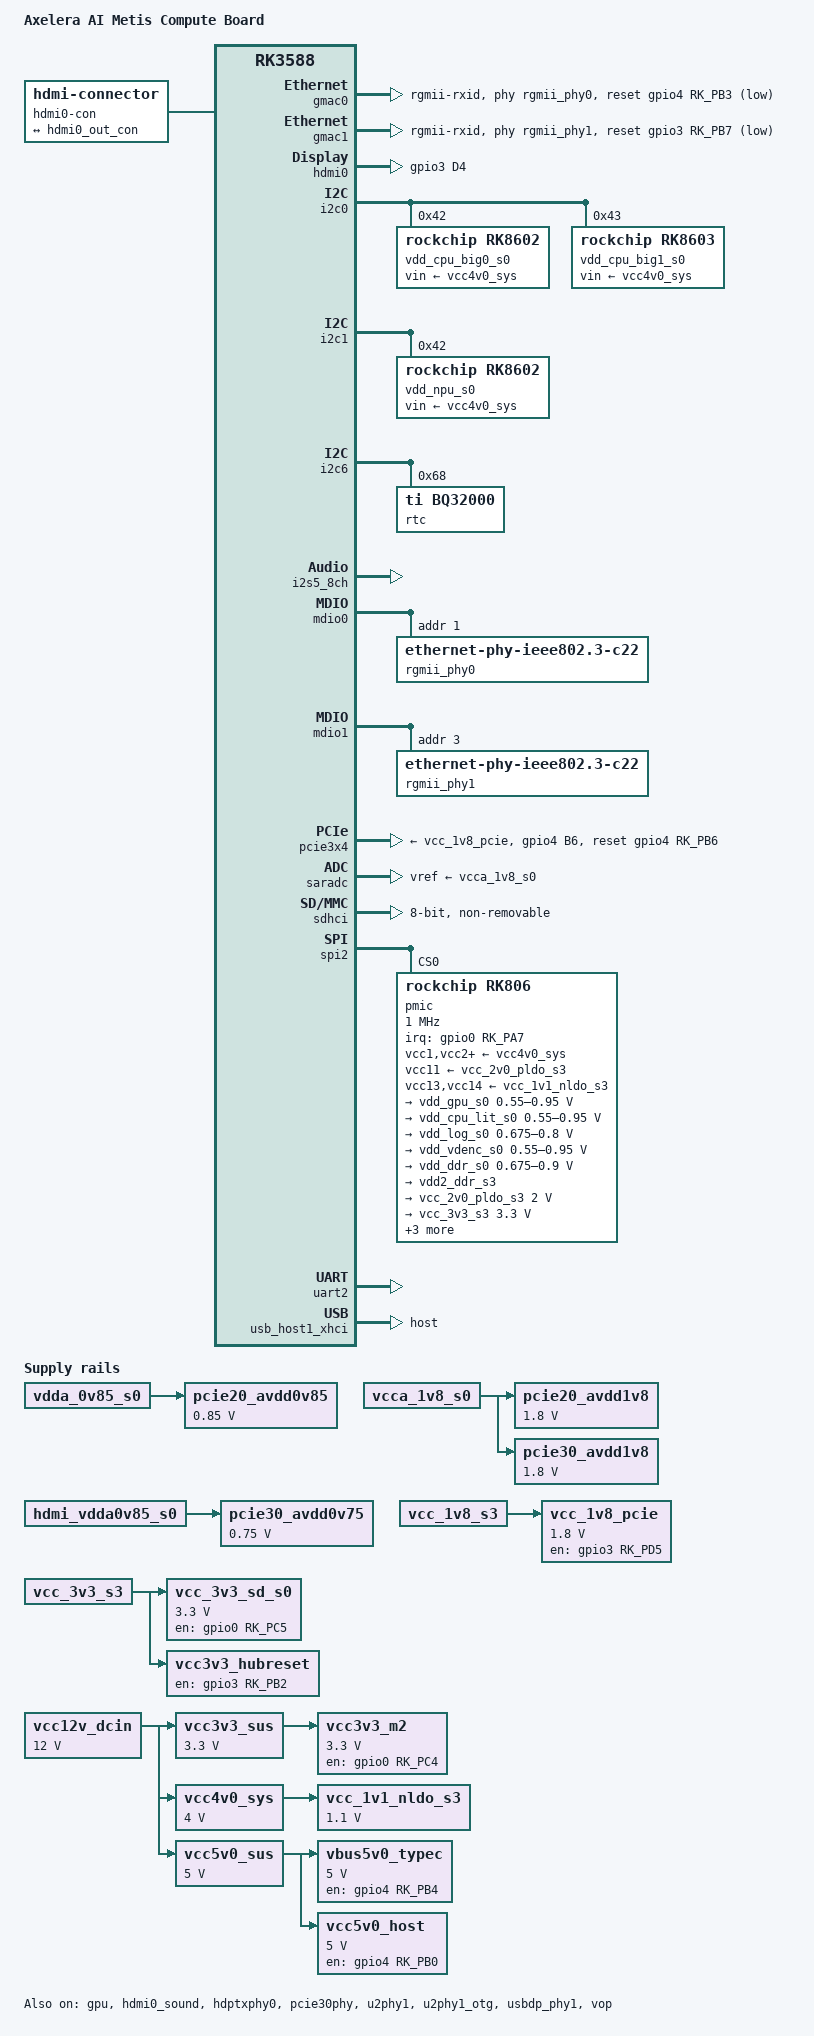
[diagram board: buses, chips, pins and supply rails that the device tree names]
// SPDX-License-Identifier: (GPL-2.0+ OR MIT)

/dts-v1/;

#include <dt-bindings/gpio/gpio.h>
#include <dt-bindings/input/input.h>
#include <dt-bindings/pinctrl/rockchip.h>
#include <dt-bindings/soc/rockchip,vop2.h>
#include "rk3588.dtsi"

/ {
	model = "Axelera AI Metis Compute Board";
	compatible = "axelera,metis-sbc", "rockchip,rk3588";

	aliases {
		ethernet0 = &gmac0;
		ethernet1 = &gmac1;
		mmc0 = &sdhci;
	};

	chosen {
		stdout-path = "serial2:1500000n8";
	};

	hdmi0-con {
		compatible = "hdmi-connector";
		type = "a";

		port {
			hdmi0_con_in: endpoint {
				remote-endpoint = <&hdmi0_out_con>;
			};
		};
	};

	pcie20_avdd0v85: pcie20-avdd0v85 {
		compatible = "regulator-fixed";
		regulator-always-on;
		regulator-boot-on;
		regulator-min-microvolt = <850000>;
		regulator-max-microvolt = <850000>;
		regulator-name = "pcie20_avdd0v85";
		vin-supply = <&vdda_0v85_s0>;
	};

	pcie20_avdd1v8: pcie20-avdd1v8 {
		compatible = "regulator-fixed";
		regulator-always-on;
		regulator-boot-on;
		regulator-min-microvolt = <1800000>;
		regulator-max-microvolt = <1800000>;
		regulator-name = "pcie20_avdd1v8";
		vin-supply = <&vcca_1v8_s0>;
	};

	pcie30_avdd0v75: pcie30-avdd0v75 {
		compatible = "regulator-fixed";
		regulator-always-on;
		regulator-boot-on;
		regulator-min-microvolt = <750000>;
		regulator-max-microvolt = <750000>;
		regulator-name = "pcie30_avdd0v75";
		vin-supply = <&hdmi_vdda0v85_s0>;
	};

	pcie30_avdd1v8: pcie30-avdd1v8 {
		compatible = "regulator-fixed";
		regulator-always-on;
		regulator-boot-on;
		regulator-min-microvolt = <1800000>;
		regulator-max-microvolt = <1800000>;
		regulator-name = "pcie30_avdd1v8";
		vin-supply = <&vcca_1v8_s0>;
	};

	vbus5v0_typec: vbus5v0-typec {
		compatible = "regulator-fixed";
		enable-active-high;
		gpio = <&gpio4 RK_PB4 GPIO_ACTIVE_HIGH>; /* TYPEC5V_PWREN */
		pinctrl-0 = <&typec5v_pwren>;
		pinctrl-names = "default";
		regulator-name = "usbc_ss_vbus";
		regulator-min-microvolt = <5000000>;
		regulator-max-microvolt = <5000000>;
		vin-supply = <&vcc5v0_sus>;
	};

	vcc_1v1_nldo_s3: vcc-1v1-nldo-s3 {
		compatible = "regulator-fixed";
		regulator-always-on;
		regulator-boot-on;
		regulator-min-microvolt = <1100000>;
		regulator-max-microvolt = <1100000>;
		regulator-name = "vcc_1v1_nldo_s3";
		vin-supply = <&vcc4v0_sys>;
	};

	vcc_1v8_pcie: vcc-1v8-pcie {
		compatible = "regulator-fixed";
		enable-active-high;
		gpio = <&gpio3 RK_PD5 GPIO_ACTIVE_HIGH>; /* PCIE30_PWREN_H */
		pinctrl-0 = <&pcie30_pwren_h>;
		pinctrl-names = "default";
		regulator-always-on;
		regulator-min-microvolt = <1800000>;
		regulator-max-microvolt = <1800000>;
		regulator-name = "vcc_1v8_pcie";
		startup-delay-us = <50000>;
		vin-supply = <&vcc_1v8_s3>;
	};

	vcc_3v3_sd_s0: vcc-3v3-sd-s0 {
		compatible = "regulator-fixed";
		enable-active-high;
		gpio = <&gpio0 RK_PC5 GPIO_ACTIVE_HIGH>; /* SDMMC_PWREN */
		pinctrl-0 = <&sdmmc_pwren>;
		pinctrl-names = "default";
		regulator-min-microvolt = <3300000>;
		regulator-max-microvolt = <3300000>;
		regulator-name = "vsd_3v3";
		startup-delay-us = <1000000>;
		vin-supply = <&vcc_3v3_s3>;
	};

	vcc12v_dcin: vcc12v-dcin {
		compatible = "regulator-fixed";
		regulator-always-on;
		regulator-boot-on;
		regulator-min-microvolt = <12000000>;
		regulator-max-microvolt = <12000000>;
		regulator-name = "12vsus";
	};

	vcc3v3_hubreset: vcc3v3-hubreset {
		compatible = "regulator-fixed";
		enable-active-high;
		gpio = <&gpio3 RK_PB2 GPIO_ACTIVE_HIGH>; /* USB_HUB_RST_N */
		pinctrl-0 = <&usb_hub_rst_n>;
		pinctrl-names = "default";
		regulator-always-on;
		regulator-boot-on;
		regulator-name = "vcc3v3_hubreset";
		vin-supply = <&vcc_3v3_s3>;
	};

	vcc3v3_m2: vcc3v3-m2 {
		compatible = "regulator-fixed";
		enable-active-high;
		gpio = <&gpio0 RK_PC4 GPIO_ACTIVE_HIGH>; /* PCIE_PWREN_H */
		pinctrl-0 = <&pcie_pwren_h>;
		pinctrl-names = "default";
		regulator-always-on;
		regulator-boot-on;
		regulator-min-microvolt = <3300000>;
		regulator-max-microvolt = <3300000>;
		regulator-name = "3v_m2";
		vin-supply = <&vcc3v3_sus>;
	};

	vcc3v3_sus: vcc3v3-sus {
		compatible = "regulator-fixed";
		regulator-always-on;
		regulator-boot-on;
		regulator-min-microvolt = <3300000>;
		regulator-max-microvolt = <3300000>;
		regulator-name = "3vsus";
		vin-supply = <&vcc12v_dcin>;
	};

	vcc4v0_sys: vcc4v0-sys {
		compatible = "regulator-fixed";
		regulator-always-on;
		regulator-boot-on;
		regulator-min-microvolt = <4000000>;
		regulator-max-microvolt = <4000000>;
		regulator-name = "vcc4v0_sys";
		vin-supply = <&vcc12v_dcin>;
	};

	vcc5v0_host: vcc5v0-host {
		compatible = "regulator-fixed";
		enable-active-high;
		gpio = <&gpio4 RK_PB0 GPIO_ACTIVE_HIGH>; /* USB_HOST_PWREN */
		pinctrl-0 = <&usb_host_pwren>;
		pinctrl-names = "default";
		regulator-always-on;
		regulator-boot-on;
		regulator-min-microvolt = <5000000>;
		regulator-max-microvolt = <5000000>;
		regulator-name = "vcc5v0_host";
		vin-supply = <&vcc5v0_sus>;
	};

	vcc5v0_sus: vcc5v0-sus {
		compatible = "regulator-fixed";
		regulator-always-on;
		regulator-boot-on;
		regulator-min-microvolt = <5000000>;
		regulator-max-microvolt = <5000000>;
		regulator-name = "5vsus";
		vin-supply = <&vcc12v_dcin>;
	};
};

&cpu_b0 {
	cpu-supply = <&vdd_cpu_big0_s0>;
	mem-supply = <&vdd_cpu_big0_s0>;
};

&cpu_b1 {
	cpu-supply = <&vdd_cpu_big0_s0>;
	mem-supply = <&vdd_cpu_big0_s0>;
};

&cpu_b2 {
	cpu-supply = <&vdd_cpu_big1_s0>;
	mem-supply = <&vdd_cpu_big1_s0>;
};

&cpu_b3 {
	cpu-supply = <&vdd_cpu_big1_s0>;
	mem-supply = <&vdd_cpu_big1_s0>;
};

&cpu_l0 {
	cpu-supply = <&vdd_cpu_lit_s0>;
	mem-supply = <&vdd_cpu_lit_mem_s0>;
};

&cpu_l1 {
	cpu-supply = <&vdd_cpu_lit_s0>;
	mem-supply = <&vdd_cpu_lit_mem_s0>;
};

&cpu_l2 {
	cpu-supply = <&vdd_cpu_lit_s0>;
	mem-supply = <&vdd_cpu_lit_mem_s0>;
};

&cpu_l3 {
	cpu-supply = <&vdd_cpu_lit_s0>;
	mem-supply = <&vdd_cpu_lit_mem_s0>;
};

&gmac0 {
	clock_in_out = "output";
	phy-handle = <&rgmii_phy0>;
	/* Use rgmii-rxid mode to disable rx delay inside Soc */
	phy-mode = "rgmii-rxid";
	pinctrl-0 = <&gmac0_miim
		     &gmac0_tx_bus2
		     &gmac0_rx_bus2
		     &gmac0_rgmii_clk
		     &gmac0_rgmii_bus>;
	pinctrl-names = "default";
	tx_delay = <0x44>;
	snps,reset-gpio = <&gpio4 RK_PB3 GPIO_ACTIVE_LOW>; /* GMAC0_RST_N */
	snps,reset-active-low;
	/* Reset time is 20ms, 100ms for rtl8211f */
	snps,reset-delays-us = <0 20000 100000>;
	status = "okay";
};

&gmac1 {
	clock_in_out = "output";
	phy-handle = <&rgmii_phy1>;
	/* Use rgmii-rxid mode to disable rx delay inside Soc */
	phy-mode = "rgmii-rxid";
	pinctrl-0 = <&gmac1_miim
		     &gmac1_tx_bus2
		     &gmac1_rx_bus2
		     &gmac1_rgmii_clk
		     &gmac1_rgmii_bus>;
	pinctrl-names = "default";
	tx_delay = <0x43>;
	snps,reset-gpio = <&gpio3 RK_PB7 GPIO_ACTIVE_LOW>; /* GMAC1_RST_N */
	snps,reset-active-low;
	/* Reset time is 20ms, 100ms for rtl8211f */
	snps,reset-delays-us = <0 20000 100000>;
	status = "okay";
};

&gpu {
	mali-supply = <&vdd_gpu_s0>;
	status = "okay";
};

&hdmi0 {
	pinctrl-0 = <&hdmim0_tx0_cec &hdmim0_tx0_hpd_sbc &hdmim0_tx0_scl &hdmim0_tx0_sda>;
	pinctrl-names = "default";
	status = "okay";
};

&hdmi0_in {
	hdmi0_in_vp0: endpoint {
		remote-endpoint = <&vp0_out_hdmi0>;
	};
};

&hdmi0_out {
	hdmi0_out_con: endpoint {
		remote-endpoint = <&hdmi0_con_in>;
	};
};

&hdmi0_sound {
	status = "okay";
};

&hdptxphy0 {
	status = "okay";
};

&i2c0 {
	pinctrl-0 = <&i2c0m2_xfer>;
	pinctrl-names = "default";
	status = "okay";

	vdd_cpu_big0_s0: regulator@42 {
		compatible = "rockchip,rk8602";
		reg = <0x42>;
		regulator-always-on;
		regulator-boot-on;
		regulator-min-microvolt = <550000>;
		regulator-max-microvolt = <1050000>;
		regulator-name = "vdd_cpu_big0_s0";
		regulator-ramp-delay = <2300>;
		vin-supply = <&vcc4v0_sys>;
		fcs,suspend-voltage-selector = <1>;

		regulator-state-mem {
			regulator-off-in-suspend;
		};
	};

	vdd_cpu_big1_s0: regulator@43 {
		compatible = "rockchip,rk8603", "rockchip,rk8602";
		reg = <0x43>;
		regulator-always-on;
		regulator-boot-on;
		regulator-min-microvolt = <550000>;
		regulator-max-microvolt = <1050000>;
		regulator-name = "vdd_cpu_big1_s0";
		regulator-ramp-delay = <2300>;
		vin-supply = <&vcc4v0_sys>;
		fcs,suspend-voltage-selector = <1>;

		regulator-state-mem {
			regulator-off-in-suspend;
		};
	};
};

&i2c1 {
	pinctrl-0 = <&i2c1m2_xfer>;
	pinctrl-names = "default";
	status = "okay";

	vdd_npu_s0: vdd_npu_mem_s0: regulator@42 {
		compatible = "rockchip,rk8602";
		reg = <0x42>;
		regulator-always-on;
		regulator-boot-on;
		regulator-min-microvolt = <550000>;
		regulator-max-microvolt = <950000>;
		regulator-name = "vdd_npu_s0";
		regulator-ramp-delay = <2300>;
		vin-supply = <&vcc4v0_sys>;
		fcs,suspend-voltage-selector = <1>;

		regulator-state-mem {
			regulator-off-in-suspend;
		};
	};
};

&i2c6 {
	status = "okay";

	rtc: rtc@68 {
		compatible = "ti,bq32000";
		reg = <0x68>;
	};
};

&i2s5_8ch {
	status = "okay";
};

&mdio0 {
	rgmii_phy0: phy@1 {
		compatible = "ethernet-phy-ieee802.3-c22";
		reg = <0x1>;
	};
};

&mdio1 {
	rgmii_phy1: phy@3 {
		compatible = "ethernet-phy-ieee802.3-c22";
		reg = <0x3>;
	};
};

&pcie30phy {
	status = "okay";
};

&pcie3x4 {
	pinctrl-0 = <&pciex4_perst_n>;
	pinctrl-names = "default";
	reset-gpios = <&gpio4 RK_PB6 GPIO_ACTIVE_HIGH>; /* PCIEX4_PERST_N */
	/*
	 * Add specific mapping required by the onboard
	 * Axelera Metis AIPU to function.
	 */
	ranges = <0x81000000 0x0 0xf0100000 0x0 0xf0100000 0x0 0x100000
		  0x82000000 0x0 0x40000000 0x9 0x00000000 0x0 0x20000000
		  0xc3000000 0x0 0x60000000 0x9 0x20000000 0x0 0x20000000>;
	/*
	 * Set to 1v8 because the electronics on the pcie3x4 slot
	 * do not receive 3v3 supply at all, but vpcie3v3-supply
	 * must be specified.
	 */
	vpcie3v3-supply = <&vcc_1v8_pcie>;
	status = "okay";
};

&pinctrl {
	hdmi {
		hdmim0_tx0_hpd_sbc: hdmim0-tx0-hpd-sbc {
			rockchip,pins = <3 RK_PD4 3 &pcfg_pull_none>;
		};
	};

	pci {
		pcie_pwren_h: pcie-pwren-h {
			rockchip,pins = <0 RK_PC4 RK_FUNC_GPIO &pcfg_pull_none>;
		};

		pcie30_pwren_h: pcie30-pwren-h {
			rockchip,pins = <3 RK_PD5 RK_FUNC_GPIO &pcfg_pull_none>;
		};

		pciex1_clkreq_n: pciex1-clkreq-n {
			rockchip,pins = <4 RK_PA0 4 &pcfg_pull_down>;
		};

		pcie_wake_n: pcie-wake-n { /* M.2_TYPE_B1 wake irq */
			rockchip,pins = <4 RK_PA1 4 &pcfg_pull_down>;
		};

		pciex1_perst_n: pciex1-perst-n { /* pcie reset */
			rockchip,pins = <4 RK_PA2 4 &pcfg_pull_none>;
		};

		pciex4_perst_n: pciex4-perst-n { /* pcie3x4 reset */
			rockchip,pins = <4 RK_PB6 4 &pcfg_pull_none>;
		};
	};

	sdmmc {
		sdmmc_pwren: sdmmc-pwren {
			rockchip,pins = <0 RK_PC5 RK_FUNC_GPIO &pcfg_pull_up>;
		};
	};

	usb {
		usb_hub_rst_n: usb-hub-rst-n {
			rockchip,pins = <3 RK_PB2 RK_FUNC_GPIO &pcfg_pull_none>;
		};

		usb_host_pwren: usb-host-pwren {
			rockchip,pins = <4 RK_PB0 RK_FUNC_GPIO &pcfg_pull_none>;
		};
	};

	usb-typec {
		cc_int_n: cc-int-n {
			rockchip,pins = <0 RK_PD3 RK_FUNC_GPIO &pcfg_pull_up>;
		};

		typec5v_pwren: typec5v-pwren {
			rockchip,pins = <4 RK_PB4 RK_FUNC_GPIO &pcfg_pull_none>;
		};
	};
};

&saradc {
	vref-supply = <&vcca_1v8_s0>;
	status = "okay";
};

/* eMMC */
&sdhci {
	bus-width = <8>;
	max-frequency = <200000000>;
	mmc-hs400-1_8v;
	mmc-hs400-enhanced-strobe;
	no-sd;
	no-sdio;
	non-removable;
	full-pwr-cycle-in-suspend;
	status = "okay";
};

&spi2 {
	assigned-clock-rates = <200000000>;
	assigned-clocks = <&cru CLK_SPI2>;
	num-cs = <1>;
	pinctrl-0 = <&spi2m2_cs0 &spi2m2_pins>;
	pinctrl-names = "default";
	status = "okay";

	pmic@0 {
		compatible = "rockchip,rk806";
		reg = <0x0>;
		interrupt-parent = <&gpio0>;
		interrupts = <RK_PA7 IRQ_TYPE_LEVEL_LOW>; /* PMIC_INT_L */
		spi-max-frequency = <1000000>;
		system-power-controller;
		vcc1-supply = <&vcc4v0_sys>;
		vcc2-supply = <&vcc4v0_sys>;
		vcc3-supply = <&vcc4v0_sys>;
		vcc4-supply = <&vcc4v0_sys>;
		vcc5-supply = <&vcc4v0_sys>;
		vcc6-supply = <&vcc4v0_sys>;
		vcc7-supply = <&vcc4v0_sys>;
		vcc8-supply = <&vcc4v0_sys>;
		vcc9-supply = <&vcc4v0_sys>;
		vcc10-supply = <&vcc4v0_sys>;
		vcc11-supply = <&vcc_2v0_pldo_s3>;
		vcc12-supply = <&vcc4v0_sys>;
		vcc13-supply = <&vcc_1v1_nldo_s3>;
		vcc14-supply = <&vcc_1v1_nldo_s3>;
		vcca-supply = <&vcc4v0_sys>;

		regulators {
			vdd_gpu_s0: vdd_gpu_mem_s0: dcdc-reg1 {
				regulator-boot-on;
				regulator-enable-ramp-delay = <400>;
				regulator-min-microvolt = <550000>;
				regulator-max-microvolt = <950000>;
				regulator-name = "vdd_gpu_s0";
				regulator-ramp-delay = <12500>;

				regulator-state-mem {
					regulator-off-in-suspend;
				};
			};

			vdd_cpu_lit_s0: vdd_cpu_lit_mem_s0: dcdc-reg2 {
				regulator-always-on;
				regulator-boot-on;
				regulator-min-microvolt = <550000>;
				regulator-max-microvolt = <950000>;
				regulator-name = "vdd_cpu_lit_s0";
				regulator-ramp-delay = <12500>;

				regulator-state-mem {
					regulator-off-in-suspend;
				};
			};

			vdd_log_s0: dcdc-reg3 {
				regulator-always-on;
				regulator-boot-on;
				regulator-min-microvolt = <675000>;
				regulator-max-microvolt = <800000>;
				regulator-name = "vdd_log_s0";
				regulator-ramp-delay = <12500>;

				regulator-state-mem {
					regulator-off-in-suspend;
					regulator-suspend-microvolt = <750000>;
				};
			};

			vdd_vdenc_s0: vdd_vdenc_mem_s0: dcdc-reg4 {
				regulator-always-on;
				regulator-boot-on;
				regulator-min-microvolt = <550000>;
				regulator-max-microvolt = <950000>;
				regulator-name = "vdd_vdenc_s0";
				regulator-ramp-delay = <12500>;

				regulator-state-mem {
					regulator-off-in-suspend;
				};
			};

			vdd_ddr_s0: dcdc-reg5 {
				regulator-always-on;
				regulator-boot-on;
				regulator-min-microvolt = <675000>;
				regulator-max-microvolt = <900000>;
				regulator-name = "vdd_ddr_s0";
				regulator-ramp-delay = <12500>;

				regulator-state-mem {
					regulator-off-in-suspend;
					regulator-suspend-microvolt = <850000>;
				};
			};

			vdd2_ddr_s3: dcdc-reg6 {
				regulator-always-on;
				regulator-boot-on;
				regulator-name = "vdd2_ddr_s3";

				regulator-state-mem {
					regulator-on-in-suspend;
				};
			};

			vcc_2v0_pldo_s3: dcdc-reg7 {
				regulator-always-on;
				regulator-boot-on;
				regulator-min-microvolt = <2000000>;
				regulator-max-microvolt = <2000000>;
				regulator-name = "vdd_2v0_pldo_s3";

				regulator-state-mem {
					regulator-on-in-suspend;
					regulator-suspend-microvolt = <2000000>;
				};
			};

			vcc_3v3_s3: dcdc-reg8 {
				regulator-always-on;
				regulator-boot-on;
				regulator-min-microvolt = <3300000>;
				regulator-max-microvolt = <3300000>;
				regulator-name = "vcc_3v3_s3";

				regulator-state-mem {
					regulator-on-in-suspend;
					regulator-suspend-microvolt = <3300000>;
				};
			};

			vddq_ddr_s0: dcdc-reg9 {
				regulator-always-on;
				regulator-boot-on;
				regulator-name = "vddq_ddr_s0";

				regulator-state-mem {
					regulator-off-in-suspend;
				};
			};

			vcc_1v8_s3: dcdc-reg10 {
				regulator-always-on;
				regulator-boot-on;
				regulator-min-microvolt = <1800000>;
				regulator-max-microvolt = <1800000>;
				regulator-name = "vcc_1v8_s3";

				regulator-state-mem {
					regulator-on-in-suspend;
					regulator-suspend-microvolt = <1800000>;
				};
			};

			vcca_1v8_s0: pldo-reg1 {
				regulator-always-on;
				regulator-boot-on;
				regulator-min-microvolt = <1800000>;
				regulator-max-microvolt = <1800000>;
				regulator-name = "vcca_1v8_s0";

				regulator-state-mem {
					regulator-off-in-suspend;
				};
			};

			vcc_1v8_s0: pldo-reg2 {
				regulator-always-on;
				regulator-boot-on;
				regulator-min-microvolt = <1800000>;
				regulator-max-microvolt = <1800000>;
				regulator-name = "vcc_1v8_s0";

				regulator-state-mem {
					regulator-off-in-suspend;
					regulator-suspend-microvolt = <1800000>;
				};
			};

			vdda_1v2_s0: pldo-reg3 {
				regulator-always-on;
				regulator-boot-on;
				regulator-min-microvolt = <1200000>;
				regulator-max-microvolt = <1200000>;
				regulator-name = "vdda_1v2_s0";

				regulator-state-mem {
					regulator-off-in-suspend;
				};
			};

			vcca_3v3_s0: pldo-reg4 {
				regulator-always-on;
				regulator-boot-on;
				regulator-min-microvolt = <3300000>;
				regulator-max-microvolt = <3300000>;
				regulator-name = "vcca_3v3_s0";

				regulator-state-mem {
					regulator-off-in-suspend;
				};
			};

			vccio_sd_s0: pldo-reg5 {
				regulator-always-on;
				regulator-boot-on;
				regulator-min-microvolt = <1800000>;
				regulator-max-microvolt = <3300000>;
				regulator-name = "vccio_sd_s0";

				regulator-state-mem {
					regulator-off-in-suspend;
				};
			};

			vcca1v8_pldo6_s3: pldo-reg6 {
				regulator-always-on;
				regulator-boot-on;
				regulator-min-microvolt = <1800000>;
				regulator-max-microvolt = <1800000>;
				regulator-name = "vcca1v8_pldo6_s3";

				regulator-state-mem {
					regulator-on-in-suspend;
					regulator-suspend-microvolt = <1800000>;
				};
			};

			vdd_0v75_s3: nldo-reg1 {
				regulator-always-on;
				regulator-boot-on;
				regulator-min-microvolt = <750000>;
				regulator-max-microvolt = <750000>;
				regulator-name = "vdd_0v75_s3";

				regulator-state-mem {
					regulator-on-in-suspend;
					regulator-suspend-microvolt = <750000>;
				};
			};

			vdda_ddr_pll_s0: nldo-reg2 {
				regulator-always-on;
				regulator-boot-on;
				regulator-min-microvolt = <850000>;
				regulator-max-microvolt = <850000>;
				regulator-name = "vdda_ddr_pll_s0";

				regulator-state-mem {
					regulator-off-in-suspend;
					regulator-suspend-microvolt = <850000>;
				};
			};

			hdmi_vdda0v85_s0: nldo-reg3 {
				regulator-always-on;
				regulator-boot-on;
				regulator-min-microvolt = <837500>;
				regulator-max-microvolt = <837500>;
				regulator-name = "hdmi_vdda0v85_s0";

				regulator-state-mem {
					regulator-off-in-suspend;
				};
			};

			vdda_0v85_s0: nldo-reg4 {
				regulator-always-on;
				regulator-boot-on;
				regulator-min-microvolt = <850000>;
				regulator-max-microvolt = <850000>;
				regulator-name = "vdda_0v85_s0";

				regulator-state-mem {
					regulator-off-in-suspend;
				};
			};

			vdd_0v75_s0: nldo-reg5 {
				regulator-always-on;
				regulator-boot-on;
				regulator-min-microvolt = <750000>;
				regulator-max-microvolt = <750000>;
				regulator-name = "vdd_0v75_s0";

				regulator-state-mem {
					regulator-off-in-suspend;
				};
			};
		};
	};
};

&u2phy1 {
	status = "okay";
};

&u2phy1_otg {
	phy-supply = <&vcc5v0_host>;
	status = "okay";
};

&uart2 {
	pinctrl-0 = <&uart2m0_xfer>;
	status = "okay";
};

&usb_host1_xhci {
	dr_mode = "host";
	status = "okay";
};

&usbdp_phy1 {
	phy-supply = <&vcc3v3_hubreset>;
	status = "okay";
};

&vop {
	status = "okay";
};

&vop_mmu {
	status = "okay";
};

&vp0 {
	vp0_out_hdmi0: endpoint@ROCKCHIP_VOP2_EP_HDMI0 {
		reg = <ROCKCHIP_VOP2_EP_HDMI0>;
		remote-endpoint = <&hdmi0_in_vp0>;
	};
};
